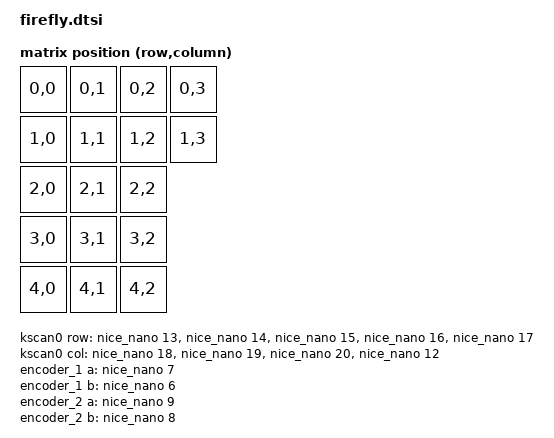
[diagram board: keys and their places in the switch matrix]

#include <dt-bindings/zmk/matrix_transform.h>

/ {
	kscan0: kscan {
		compatible = "zmk,kscan-gpio-matrix";
		label = "KSCAN";

		diode-direction = "col2row";

		row-gpios
			= <&nice_nano 13 (GPIO_ACTIVE_HIGH | GPIO_PULL_DOWN)>
			, <&nice_nano 14 (GPIO_ACTIVE_HIGH | GPIO_PULL_DOWN)>
			, <&nice_nano 15 (GPIO_ACTIVE_HIGH | GPIO_PULL_DOWN)>
			, <&nice_nano 16 (GPIO_ACTIVE_HIGH | GPIO_PULL_DOWN)>
			, <&nice_nano 17 (GPIO_ACTIVE_HIGH | GPIO_PULL_DOWN)>
			;

		col-gpios
			= <&nice_nano 18 (GPIO_ACTIVE_HIGH | GPIO_PULL_DOWN)>
			, <&nice_nano 19 (GPIO_ACTIVE_HIGH | GPIO_PULL_DOWN)>
			, <&nice_nano 20 (GPIO_ACTIVE_HIGH | GPIO_PULL_DOWN)>
			, <&nice_nano 12 (GPIO_ACTIVE_HIGH | GPIO_PULL_DOWN)>
			;

	};

	default_transform: keymap_transform_0 {
		compatible = "zmk,matrix-transform";
		columns = <4>;
		rows = <5>;


//     |  MX1  |  MX2  |  MX3  |  MX4  |
//     |  MX5  |  MX6  |  MX7  |  MX8  |
//     |  MX9  |  MX10 |  MX11 | 
//     |  MX12 |  MX13 |  MX14 |
//     |  MX15 |  MX16 |  MX17 |


		map = <
			RC(0,0) RC(0,1) RC(0,2) RC(0,3)
			RC(1,0) RC(1,1) RC(1,2) RC(1,3)
			RC(2,0) RC(2,1) RC(2,2) 
			RC(3,0) RC(3,1) RC(3,2) 
			RC(4,0) RC(4,1) RC(4,2) 
		>;
	};

	encoder_1: encoder_1 {
		compatible = "alps,ec11";
		label = "Top Row Encoder";
		a-gpios = <&nice_nano 7 (GPIO_ACTIVE_LOW | GPIO_PULL_UP)>;
		b-gpios = <&nice_nano 6 (GPIO_ACTIVE_LOW | GPIO_PULL_UP)>;
		resolution = <24>;
		status = "enabled";
	};

	encoder_2: encoder_2 {
		compatible = "alps,ec11";
		label = "Encoder 1";
		a-gpios = <&nice_nano 9 (GPIO_ACTIVE_LOW | GPIO_PULL_UP)>;
		b-gpios = <&nice_nano 8 (GPIO_ACTIVE_LOW | GPIO_PULL_UP)>;
		resolution = <24>;
		status = "enabled";
	};

	encoder_3: encoder_3 {
		compatible = "alps,ec11";
		label = "Encoder 2";
		a-gpios = <&nice_nano 9 (GPIO_ACTIVE_LOW | GPIO_PULL_UP)>;
		b-gpios = <&nice_nano 8 (GPIO_ACTIVE_LOW | GPIO_PULL_UP)>;
		resolution = <24>;
		status = "disabled";
	};

	sensors {
			compatible = "zmk,keymap-sensors";
			sensors = <&encoder_1 &encoder_2>;
    };

	chosen {
		zmk,kscan = &kscan0;
		zmk,matrix_transform = &default_transform;
	};
};
